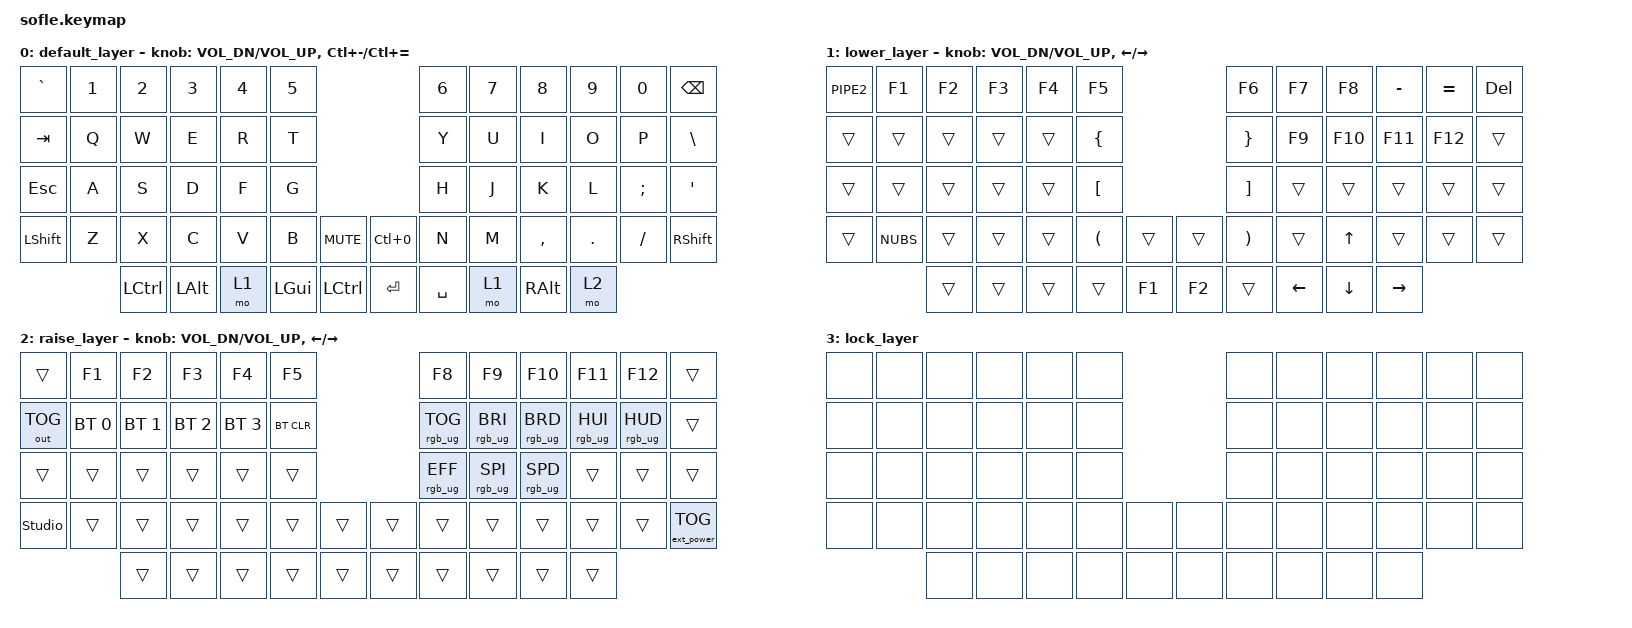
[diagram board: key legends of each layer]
/*
 * Copyright (c) 2020 The ZMK Contributors
 *
 * SPDX-License-Identifier: MIT
 */

#include <behaviors.dtsi>
#include <dt-bindings/zmk/keys.h>
#include <dt-bindings/zmk/bt.h>
#include <dt-bindings/zmk/rgb.h>
#include <dt-bindings/zmk/outputs.h>
#include <dt-bindings/zmk/ext_power.h> 

/ {
    combos {
        compatible = "zmk,combos";
        combo_lock_base {
            timeout-ms = <100>;
            key-positions = <0 1 2 3>;
            layers = <0>;  // Only on base (0)
            bindings = <&to 3>;  // Enter lock
        };
        combo_unlock_lock {
            timeout-ms = <100>;
            // key-positions = <53 58 60>;
            key-positions = <8 9 10 11>;
            layers = <0 3>;  // Base (0) + lock (3)
            bindings = <&to 0>;  // Exit to base
        };
    };
};

/ {
    keymap {
        compatible = "zmk,keymap";

        default_layer {
            bindings = <
// ╭───────────────┬───────────────┬───────────────┬───────────────┬───────────────┬───────────────╮                                 ╭───────────────┬───────────────┬───────────────┬───────────────┬───────────────┬───────────────╮
          &kp GRAVE     &kp N1        &kp N2          &kp N3          &kp N4         &kp N5                                              &kp N6         &kp N7          &kp N8           &kp N9         &kp N0          &kp BSPC
// ├───────────────┼───────────────┼───────────────┼───────────────┼───────────────┼───────────────┤                                 ├───────────────┼───────────────┼───────────────┼───────────────┼───────────────┼───────────────┤
          &kp TAB       &kp Q         &kp W           &kp E           &kp R          &kp T                                               &kp Y          &kp U           &kp I            &kp O          &kp P           &kp BSLH
// ├───────────────┼───────────────┼───────────────┼───────────────┼───────────────┼───────────────┤                                 ├───────────────┼───────────────┼───────────────┼───────────────┼───────────────┼───────────────┤
          &kp ESC       &kp A         &kp S           &kp D           &kp F          &kp G                                               &kp H          &kp J           &kp K            &kp L          &kp SEMI        &kp SQT
// ├───────────────┼───────────────┼───────────────┼───────────────┼───────────────┼───────────────┼───────────────╮ ╭───────────────┼───────────────┼───────────────┼───────────────┼───────────────┼───────────────┼───────────────┤
          &kp LSHFT     &kp Z         &kp X           &kp C           &kp V          &kp B              &kp C_MUTE      &kp LC(N0)       &kp N          &kp M           &kp COMMA        &kp DOT        &kp FSLH        &kp RSHFT
// ╰───────────────┼───────────────┼───────────────┼───────────────┼───────────────┼───────────────┼───────────────┤ ├───────────────┼───────────────┼───────────────┼───────────────┼───────────────┼───────────────────────────────╯
                                      &kp LCTRL      &kp LALT         &mo 1          &kp LGUI           &kp LCTRL       &kp RET          &kp SPACE      &mo 1           &kp RALT         &mo 2
//                                 ╰───────────────┴───────────────┴───────────────┴───────────────┴───────────────╯ ╰───────────────┴───────────────┴───────────────┴───────────────┴───────────────╯
            >;

            sensor-bindings = <&inc_dec_kp C_VOL_DN C_VOL_UP &inc_dec_kp LC(MINUS) LC(EQUAL)>;
        };

        lower_layer {
            bindings = <
// ╭───────────────┬───────────────┬───────────────┬───────────────┬───────────────┬───────────────╮                                 ╭───────────────┬───────────────┬───────────────┬───────────────┬───────────────┬───────────────╮
          &kp PIPE2     &kp F1        &kp F2          &kp F3          &kp F4         &kp F5                                              &kp F6         &kp F7          &kp F8           &kp MINUS      &kp EQUAL       &kp DEL
// ├───────────────┼───────────────┼───────────────┼───────────────┼───────────────┼───────────────┤                                 ├───────────────┼───────────────┼───────────────┼───────────────┼───────────────┼───────────────┤
          &trans        &trans        &trans          &trans          &trans         &kp LBRC                                            &kp RBRC       &kp F9          &kp F10          &kp F11        &kp F12         &trans
// ├───────────────┼───────────────┼───────────────┼───────────────┼───────────────┼───────────────┤                                 ├───────────────┼───────────────┼───────────────┼───────────────┼───────────────┼───────────────┤
          &trans        &trans        &trans          &trans          &trans         &kp LBKT                                            &kp RBKT       &trans          &trans           &trans         &trans          &trans
// ├───────────────┼───────────────┼───────────────┼───────────────┼───────────────┼───────────────┼───────────────╮ ╭───────────────┼───────────────┼───────────────┼───────────────┼───────────────┼───────────────┼───────────────┤
          &trans        &kp NUBS      &trans          &trans          &trans         &kp LPAR            &trans          &trans          &kp RPAR       &trans          &kp UP           &trans         &trans          &trans
// ╰───────────────┼───────────────┼───────────────┼───────────────┼───────────────┼───────────────┼───────────────┤ ├───────────────┼───────────────┼───────────────┼───────────────┼───────────────┼───────────────────────────────╯
                                      &trans          &trans          &trans         &trans              &kp F1          &kp F2          &trans         &kp LEFT        &kp DOWN         &kp RIGHT
//                                 ╰───────────────┴───────────────┴───────────────┴───────────────┴───────────────╯ ╰───────────────┴───────────────┴───────────────┴───────────────┴───────────────╯
            >;

            // sensor-bindings = <&inc_dec_kp C_VOL_DN C_VOL_UP &inc_dec_kp LC(MINUS) LC(EQUAL)>;
            sensor-bindings = <&inc_dec_kp C_VOL_DN C_VOL_UP &inc_dec_kp LEFT RIGHT>;
        };

        raise_layer {
            bindings = <
// ╭───────────────┬───────────────┬───────────────┬───────────────┬───────────────┬───────────────╮                                 ╭───────────────┬───────────────┬───────────────┬───────────────┬───────────────┬───────────────╮
          &trans        &kp F1        &kp F2          &kp F3          &kp F4         &kp F5                                              &kp F8         &kp F9          &kp F10           &kp F11       &kp F12         &trans
// ├───────────────┼───────────────┼───────────────┼───────────────┼───────────────┼───────────────┤                                 ├───────────────┼───────────────┼───────────────┼───────────────┼───────────────┼───────────────┤
      &out OUT_TOG      &bt BT_SEL 0  &bt BT_SEL 1    &bt BT_SEL 2    &bt BT_SEL 3   &bt BT_CLR                                       &rgb_ug RGB_TOG &rgb_ug RGB_BRI &rgb_ug RGB_BRD &rgb_ug RGB_HUI &rgb_ug RGB_HUD   &trans
// ├───────────────┼───────────────┼───────────────┼───────────────┼───────────────┼───────────────┤                                 ├───────────────┼───────────────┼───────────────┼───────────────┼───────────────┼───────────────┤
          &trans        &trans        &trans          &trans          &trans         &trans                                           &rgb_ug RGB_EFF &rgb_ug RGB_SPI &rgb_ug RGB_SPD &trans           &trans         &trans          
// ├───────────────┼───────────────┼───────────────┼───────────────┼───────────────┼───────────────┼───────────────╮ ╭───────────────┼───────────────┼───────────────┼───────────────┼───────────────┼───────────────┼───────────────┤
     &studio_unlock     &trans        &trans          &trans          &trans         &trans              &trans          &trans          &trans         &trans          &trans           &trans         &trans        &ext_power EP_TOG
// ╰───────────────┼───────────────┼───────────────┼───────────────┼───────────────┼───────────────┼───────────────┤ ├───────────────┼───────────────┼───────────────┼───────────────┼───────────────┼───────────────────────────────╯
                                      &trans          &trans          &trans         &trans              &trans          &trans          &trans         &trans          &trans           &trans
//                                 ╰───────────────┴───────────────┴───────────────┴───────────────┴───────────────╯ ╰───────────────┴───────────────┴───────────────┴───────────────┴───────────────╯
            >;

            // sensor-bindings = <&inc_dec_kp C_VOL_DN C_VOL_UP &inc_dec_kp LC(MINUS) LC(EQUAL)>;
            sensor-bindings = <&inc_dec_kp C_VOL_DN C_VOL_UP &inc_dec_kp LEFT RIGHT>;
        };

        lock_layer {
            bindings = <
// ╭───────────────┬───────────────┬───────────────┬───────────────┬───────────────┬───────────────╮                                 ╭───────────────┬───────────────┬───────────────┬───────────────┬───────────────┬───────────────╮
          &none         &none         &none           &none           &none          &none                                               &none          &none           &none            &none          &none             &none
// ├───────────────┼───────────────┼───────────────┼───────────────┼───────────────┼───────────────┤                                 ├───────────────┼───────────────┼───────────────┼───────────────┼───────────────┼───────────────┤
          &none         &none         &none           &none           &none          &none                                               &none          &none           &none            &none          &none             &none
// ├───────────────┼───────────────┼───────────────┼───────────────┼───────────────┼───────────────┤                                 ├───────────────┼───────────────┼───────────────┼───────────────┼───────────────┼───────────────┤
          &none         &none         &none           &none           &none          &none                                               &none          &none           &none            &none          &none             &none
// ├───────────────┼───────────────┼───────────────┼───────────────┼───────────────┼───────────────┼───────────────╮ ╭───────────────┼───────────────┼───────────────┼───────────────┼───────────────┼───────────────┼───────────────┤
          &none         &none         &none           &none           &none          &none               &none           &none           &none          &none           &none            &none          &none             &none
// ╰───────────────┼───────────────┼───────────────┼───────────────┼───────────────┼───────────────┼───────────────┤ ├───────────────┼───────────────┼───────────────┼───────────────┼───────────────┼───────────────────────────────╯
                                      &none           &none           &none          &none               &none           &none           &none          &none           &none            &none
//                                 ╰───────────────┴───────────────┴───────────────┴───────────────┴───────────────╯ ╰───────────────┴───────────────┴───────────────┴───────────────┴───────────────╯
            >;
        };
    };
};
